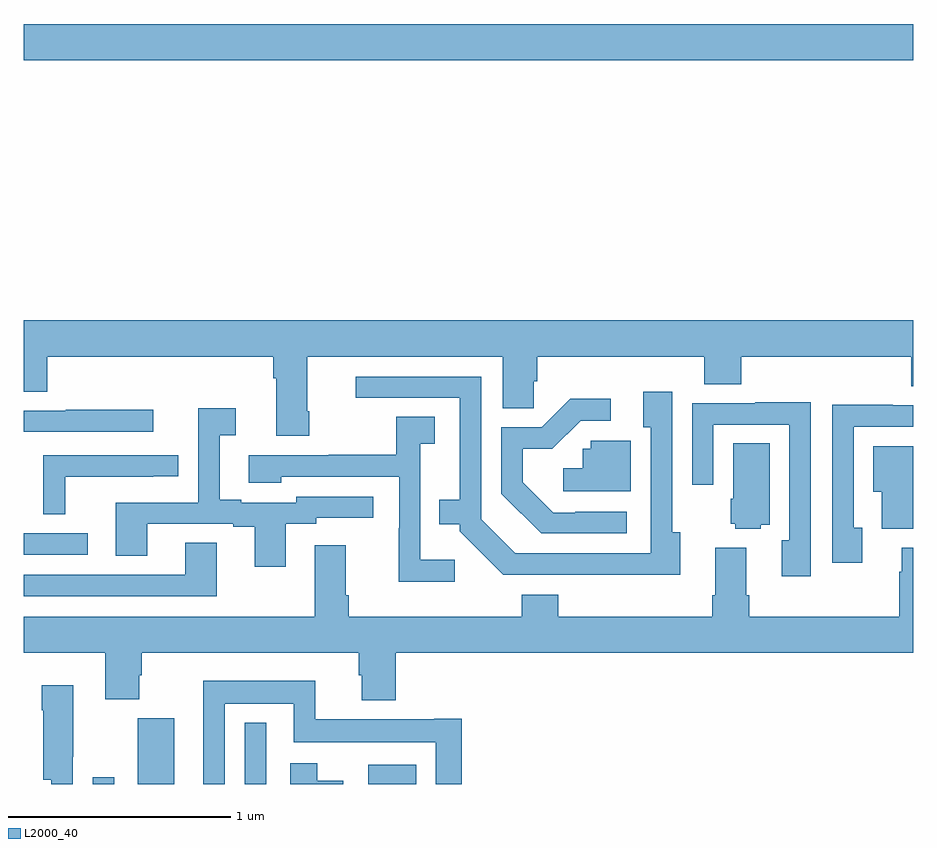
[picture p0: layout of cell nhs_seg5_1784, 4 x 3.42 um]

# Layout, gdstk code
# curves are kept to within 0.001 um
import gdstk
lib = gdstk.Library(unit=1e-6, precision=1e-09)
def R(c, l, rs):  # rectangles x0, y0, x1, y1
    for r in rs: c.add(gdstk.rectangle(r[:2], r[2:], *l))
def P(c, l, *ps):  # polygons
    for p in ps: c.add(gdstk.Polygon(p, *l))
L2000_40 = (2000, 40)

nhs_seg5_1784 = lib.new_cell('nhs_seg5_1784')
R(nhs_seg5_1784, L2000_40, [(217.311,894.799,217.407,894.829), (217.514,894.799,217.678,895.095), (217.995,894.799,218.091,895.075), (218.549,894.799,218.764,894.886), (217,895.83,217.288,895.926), (217,898.052,221,898.216)])
P(nhs_seg5_1784, L2000_40, [(218.283,896.476),(218.275,896.476),(218.275,896.72),(219.155,896.72),(219.155,896.488),(219.293,896.488),(219.293,896.61),(219.308,896.61),(219.308,896.72),(220.061,896.72),(220.061,896.596),(220.226,896.596),(220.226,896.72),(220.991,896.72),(220.991,896.587),(221,896.587),(221,896.884),(217,896.884),(217,896.563),(217.106,896.563),(217.106,896.72),(218.123,896.72),(218.123,896.624),(218.135,896.624),(218.135,896.364),(218.283,896.364)],
  [(219.952,895.93),(219.915,895.93),(219.915,896.563),(219.785,896.563),(219.785,896.402),(219.819,896.402),(219.819,895.836),(219.21,895.836),(219.057,895.989),(219.057,896.631),(218.493,896.631),(218.493,896.535),(218.96,896.535),(218.96,896.077),(218.869,896.077),(218.869,895.967),(218.961,895.967),(218.961,895.935),(219.156,895.74),(219.952,895.739)],
  [(219.712,896.022),(219.481,896.022),(219.481,896.019),(219.381,896.019),(219.244,896.156),(219.244,896.306),(219.377,896.306),(219.504,896.433),(219.64,896.433),(219.64,896.531),(219.458,896.531),(219.33,896.403),(219.147,896.403),(219.147,896.105),(219.326,895.926),(219.712,895.926)],
  [(220.539,896.515),(220.289,896.515),(220.289,896.511),(220.005,896.511),(220.005,896.145),(220.101,896.145),(220.101,896.415),(220.443,896.415),(220.443,895.895),(220.409,895.895),(220.409,895.734),(220.539,895.734)],
  [(220.771,895.95),(220.731,895.95),(220.731,896.406),(221,896.406),(221,896.502),(220.907,896.502),(220.907,896.504),(220.635,896.504),(220.635,895.794),(220.771,895.794)],
  [(218.179,895.968),(218.316,895.968),(218.316,895.995),(218.572,895.995),(218.572,896.091),(218.226,896.091),(218.226,896.064),(217.978,896.064),(217.978,896.077),(217.882,896.077),(217.882,896.368),(217.954,896.368),(217.954,896.488),(217.785,896.488),(217.785,896.064),(217.415,896.064),(217.415,895.825),(217.555,895.825),(217.555,895.968),(217.943,895.968),(217.943,895.956),(218.039,895.956),(218.039,895.776),(218.179,895.776)],
  [(217.582,896.481),(217.189,896.481),(217.189,896.478),(217,896.478),(217,896.382),(217.582,896.382)],
  [(218.938,895.807),(218.784,895.807),(218.784,896.329),(218.848,896.329),(218.848,896.45),(218.676,896.45),(218.676,896.28),(218.371,896.28),(218.371,896.277),(218.013,896.277),(218.013,896.153),(218.157,896.153),(218.157,896.181),(218.688,896.181),(218.688,895.949),(218.686,895.949),(218.686,895.709),(218.938,895.709)],
  [(219.73,896.343),(219.549,896.343),(219.549,896.307),(219.513,896.307),(219.513,896.218),(219.426,896.218),(219.426,896.115),(219.73,896.115)],
  [(220.314,895.964),(220.354,895.964),(220.354,896.33),(220.19,896.33),(220.19,896.082),(220.178,896.082),(220.178,895.968),(220.2,895.968),(220.2,895.946),(220.314,895.946)],
  [(221,896.317),(220.82,896.317),(220.82,896.114),(220.859,896.114),(220.859,895.946),(221,895.946)],
  [(217.188,896.181),(217.583,896.181),(217.583,896.182),(217.696,896.182),(217.696,896.277),(217.089,896.277),(217.089,896.011),(217.188,896.011)],
  [(217.867,895.883),(217.727,895.883),(217.727,895.74),(217,895.74),(217,895.644),(217.867,895.644)],
  [(218.672,895.388),(221,895.388),(221,895.861),(220.949,895.861),(220.949,895.754),(220.937,895.754),(220.937,895.552),(220.262,895.552),(220.262,895.648),(220.249,895.648),(220.249,895.861),(220.109,895.861),(220.109,895.648),(220.097,895.648),(220.097,895.552),(219.404,895.552),(219.404,895.651),(219.239,895.651),(219.239,895.552),(218.462,895.552),(218.462,895.648),(218.449,895.648),(218.449,895.873),(218.309,895.873),(218.309,895.552),(217,895.552),(217,895.388),(217.367,895.388),(217.367,895.18),(217.519,895.18),(217.519,895.289),(217.532,895.289),(217.532,895.388),(218.507,895.388),(218.507,895.287),(218.519,895.287),(218.519,895.175),(218.672,895.175)],
  [(217.905,895.16),(218.214,895.16),(218.214,894.986),(218.853,894.986),(218.853,894.799),(218.969,894.799),(218.969,895.093),(218.846,895.093),(218.846,895.09),(218.312,895.09),(218.312,895.264),(217.808,895.264),(217.808,894.799),(217.905,894.799)],
  [(217.221,894.922),(217.222,894.922),(217.222,895.243),(217.081,895.243),(217.081,895.13),(217.088,895.13),(217.088,894.818),(217.124,894.818),(217.124,894.799),(217.221,894.799)],
  [(218.437,894.814),(218.32,894.814),(218.32,894.892),(218.198,894.892),(218.198,894.799),(218.437,894.799)])

lib.write_gds('nhs_seg5_1784.gds')
